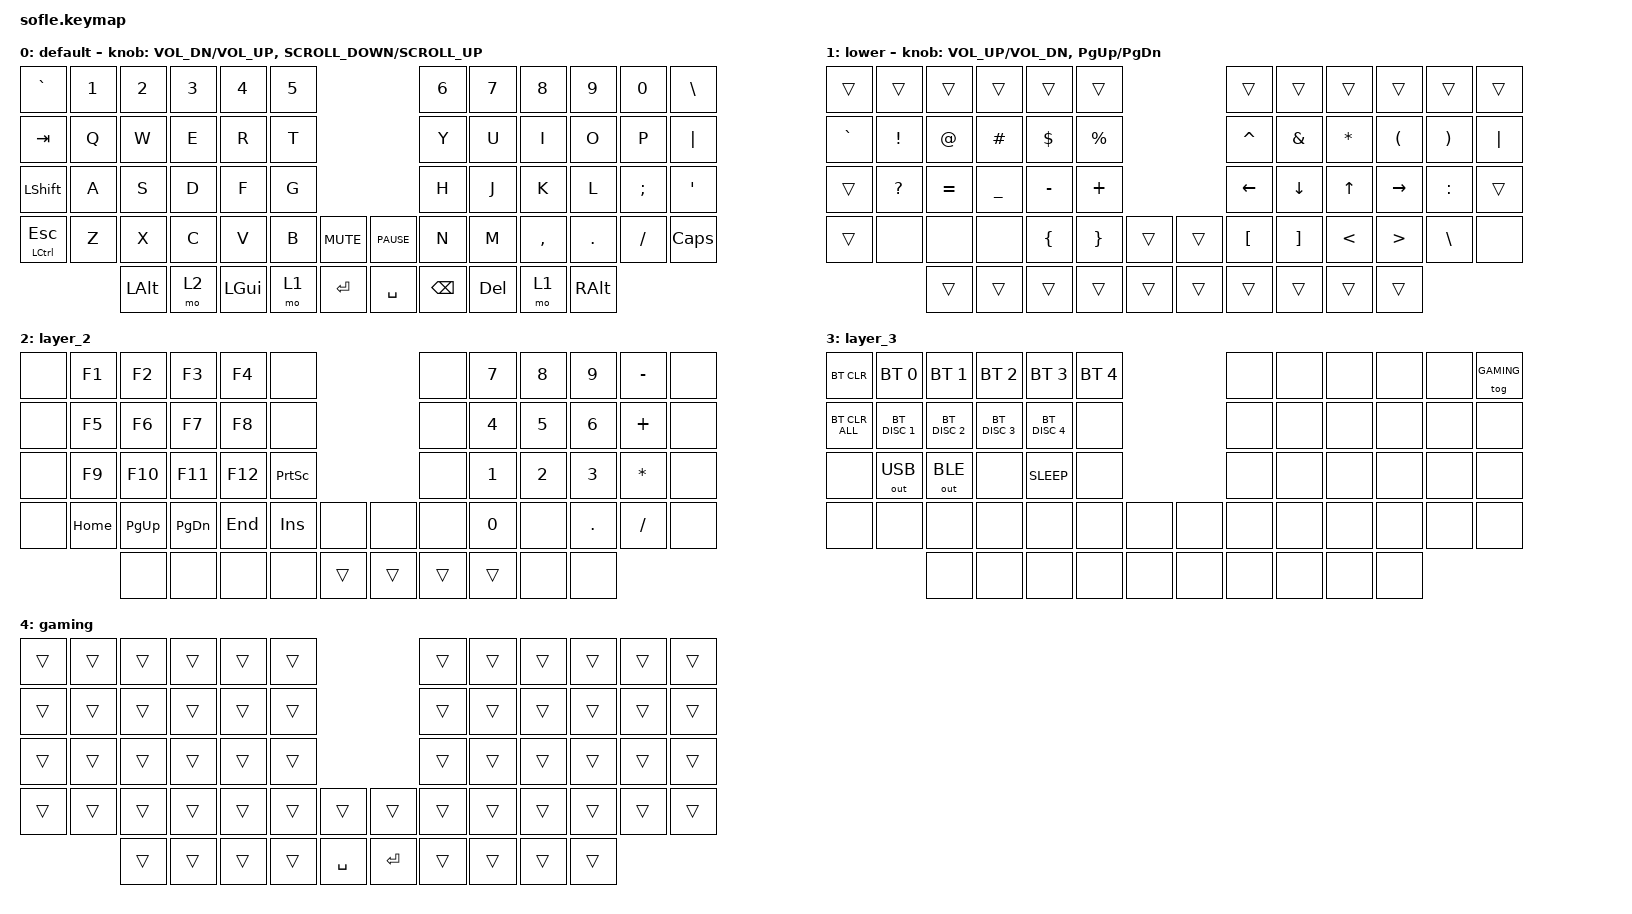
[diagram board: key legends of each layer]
/*
 * Copyright (c) 2020 The ZMK Contributors
 *
 * SPDX-License-Identifier: MIT
 */

#include <behaviors.dtsi>
#include <dt-bindings/zmk/bt.h>
#include <dt-bindings/zmk/keys.h>
#include <dt-bindings/zmk/outputs.h>

#define BASE 0
#define LOWER 1
#define RAISE 2
#define ADJUST 3
#define GAMING 4

/ {
    // Activate ADJUST layer by pressing raise and lower

    conditional_layers {
        compatible = "zmk,conditional-layers";

        adjust_layer {
            if-layers = <1 2>;
            then-layer = <3>;
        };
    };

    keymap {
        compatible = "zmk,keymap";

        default_layer {
            display-name = "default";

            // ------------------------------------------------------------------------------------------------------------
            // |   `   |  1  |  2  |  3   |  4   |  5   |                   |  6   |  7    |  8    |  9   |   0   |       |
            // |  ESC  |  Q  |  W  |  E   |  R   |  T   |                   |  Y   |  U    |  I    |  O   |   P   | BKSPC |
            // |  TAB  |  A  |  S  |  D   |  F   |  G   |                   |  H   |  J    |  K    |  L   |   ;   |   '   |
            // | SHIFT |  Z  |  X  |  C   |  V   |  B   |  MUTE  |  |       |  N   |  M    |  ,    |  .   |   /   | SHIFT |
            //               | GUI | ALT  | CTRL | LOWER|  ENTER |  | SPACE | RAISE| CTRL  | ALT   | GUI  |

            bindings = <
&kp GRAVE         &kp N1  &kp N2        &kp N3  &kp N4        &kp N5                             &kp N6         &kp N7      &kp N8     &kp N9         &kp N0    &kp BACKSLASH
&kp TAB           &kp Q   &kp W         &kp E   &kp R         &kp T                              &kp Y          &kp U       &kp I      &kp O          &kp P     &kp PIPE
&kp LEFT_SHIFT    &kp A   &kp S         &kp D   &kp F         &kp G                              &kp H          &kp J       &kp K      &kp L          &kp SEMI  &kp SQT
&mt LCTRL ESCAPE  &kp Z   &kp X         &kp C   &kp V         &kp B   &kp C_MUTE    &kp C_PAUSE  &kp N          &kp M       &kp COMMA  &kp DOT        &kp FSLH  &kp CAPS
                          &kp LEFT_ALT  &mo 2   &kp LEFT_GUI  &mo 1   &kp RET       &kp SPACE    &kp BACKSPACE  &kp DELETE  &mo 1      &kp RIGHT_ALT
            >;

            sensor-bindings =
                <&inc_dec_kp C_VOL_DN C_VOL_UP>,
                <&inc_dec_kp K_SCROLL_DOWN K_SCROLL_UP>;
        };

        lower_layer {
            display-name = "lower";

            // TODO: Some binds are waiting for shifted keycode support.
            // ------------------------------------------------------------------------------------------------------------
            // |       |  F1 |  F2 |  F3  |  F4  |  F5  |                   |  F6  |  F7   |  F8   |  F9  |  F10  |  F11  |
            // |   `   |  1  |  2  |  3   |  4   |  5   |                   |  6   |  7    |  8    |  9   |   0   |  F12  |
            // |       |  !  |  @  |  #   |  $   |  %   |                   |  ^   |  &    |  *    |  (   |   )   |   |   |
            // |       |  =  |  -  |  +   |  {   |  }   |        |  |       |  [   |  ]    |  ;    |  :   |   \   |       |
            //               |     |      |      |      |        |  |       |      |       |       |      |

            bindings = <
&trans     &trans           &trans       &trans     &trans      &trans                         &trans          &trans          &trans         &trans                &trans                 &trans
&kp GRAVE  &kp EXCLAMATION  &kp AT_SIGN  &kp HASH   &kp DOLLAR  &kp PERCENT                    &kp CARET       &kp AMPERSAND   &kp ASTERISK   &kp LEFT_PARENTHESIS  &kp RIGHT_PARENTHESIS  &kp PIPE
&trans     &kp QUESTION     &kp EQUAL    &kp UNDER  &kp MINUS   &kp PLUS                       &kp LEFT_ARROW  &kp DOWN_ARROW  &kp UP_ARROW   &kp RIGHT_ARROW       &kp COLON              &trans
&trans     &none            &none        &none      &kp LBRC    &kp RBRC     &trans    &trans  &kp LBKT        &kp RBKT        &kp LESS_THAN  &kp GREATER_THAN      &kp BSLH               &none
                            &trans       &trans     &trans      &trans       &trans    &trans  &trans          &trans          &trans         &trans
            >;

            sensor-bindings = <&inc_dec_kp C_VOL_UP C_VOL_DN &inc_dec_kp PG_UP PG_DN>;
        };

        layer_2 {
            bindings = <
&none  &kp F1    &kp F2       &kp F3         &kp F4   &none                              &none   &kp NUMBER_7  &kp NUMBER_8  &kp NUMBER_9  &kp MINUS     &none
&none  &kp F5    &kp F6       &kp F7         &kp F8   &none                              &none   &kp NUMBER_4  &kp NUMBER_5  &kp NUMBER_6  &kp PLUS      &none
&none  &kp F9    &kp F10      &kp F11        &kp F12  &kp PRINTSCREEN                    &none   &kp NUMBER_1  &kp NUMBER_2  &kp NUMBER_3  &kp ASTERISK  &none
&none  &kp HOME  &kp PAGE_UP  &kp PAGE_DOWN  &kp END  &kp INS          &none     &none   &none   &kp NUMBER_0  &none         &kp DOT       &kp SLASH     &none
                 &none        &none          &none    &none            &trans    &trans  &trans  &trans        &none         &none
            >;
        };

        layer_3 {
            bindings = <
&bt BT_CLR      &bt BT_SEL 0   &bt BT_SEL 1   &bt BT_SEL 2   &bt BT_SEL 3   &bt BT_SEL 4           &none  &none  &none  &none  &none  &tog GAMING
&bt BT_CLR_ALL  &bt BT_DISC 1  &bt BT_DISC 2  &bt BT_DISC 3  &bt BT_DISC 4  &none                  &none  &none  &none  &none  &none  &none
&none           &out OUT_USB   &out OUT_BLE   &none          &kp K_SLEEP    &none                  &none  &none  &none  &none  &none  &none
&none           &none          &none          &none          &none          &none  &none    &none  &none  &none  &none  &none  &none  &none
                               &none          &none          &none          &none  &none    &none  &none  &none  &none  &none
            >;
        };

        gaming_layer {
            display-name = "gaming";
        
            bindings = <
        &trans  &trans  &trans  &trans  &trans  &trans                          &trans  &trans  &trans  &trans  &trans  &trans
        &trans  &trans  &trans  &trans  &trans  &trans                          &trans  &trans  &trans  &trans  &trans  &trans
        &trans  &trans  &trans  &trans  &trans  &trans                          &trans  &trans  &trans  &trans  &trans  &trans
        &trans  &trans  &trans  &trans  &trans  &trans  &trans          &trans  &trans  &trans  &trans  &trans  &trans  &trans
                        &trans  &trans  &trans  &trans  &kp SPACE     &kp RET   &trans  &trans  &trans  &trans
            >;
        };

        extra1 {
            status = "reserved";
        };

        extra2 {
            status = "reserved";
        };

        extra3 {
            status = "reserved";
        };
    };
};
